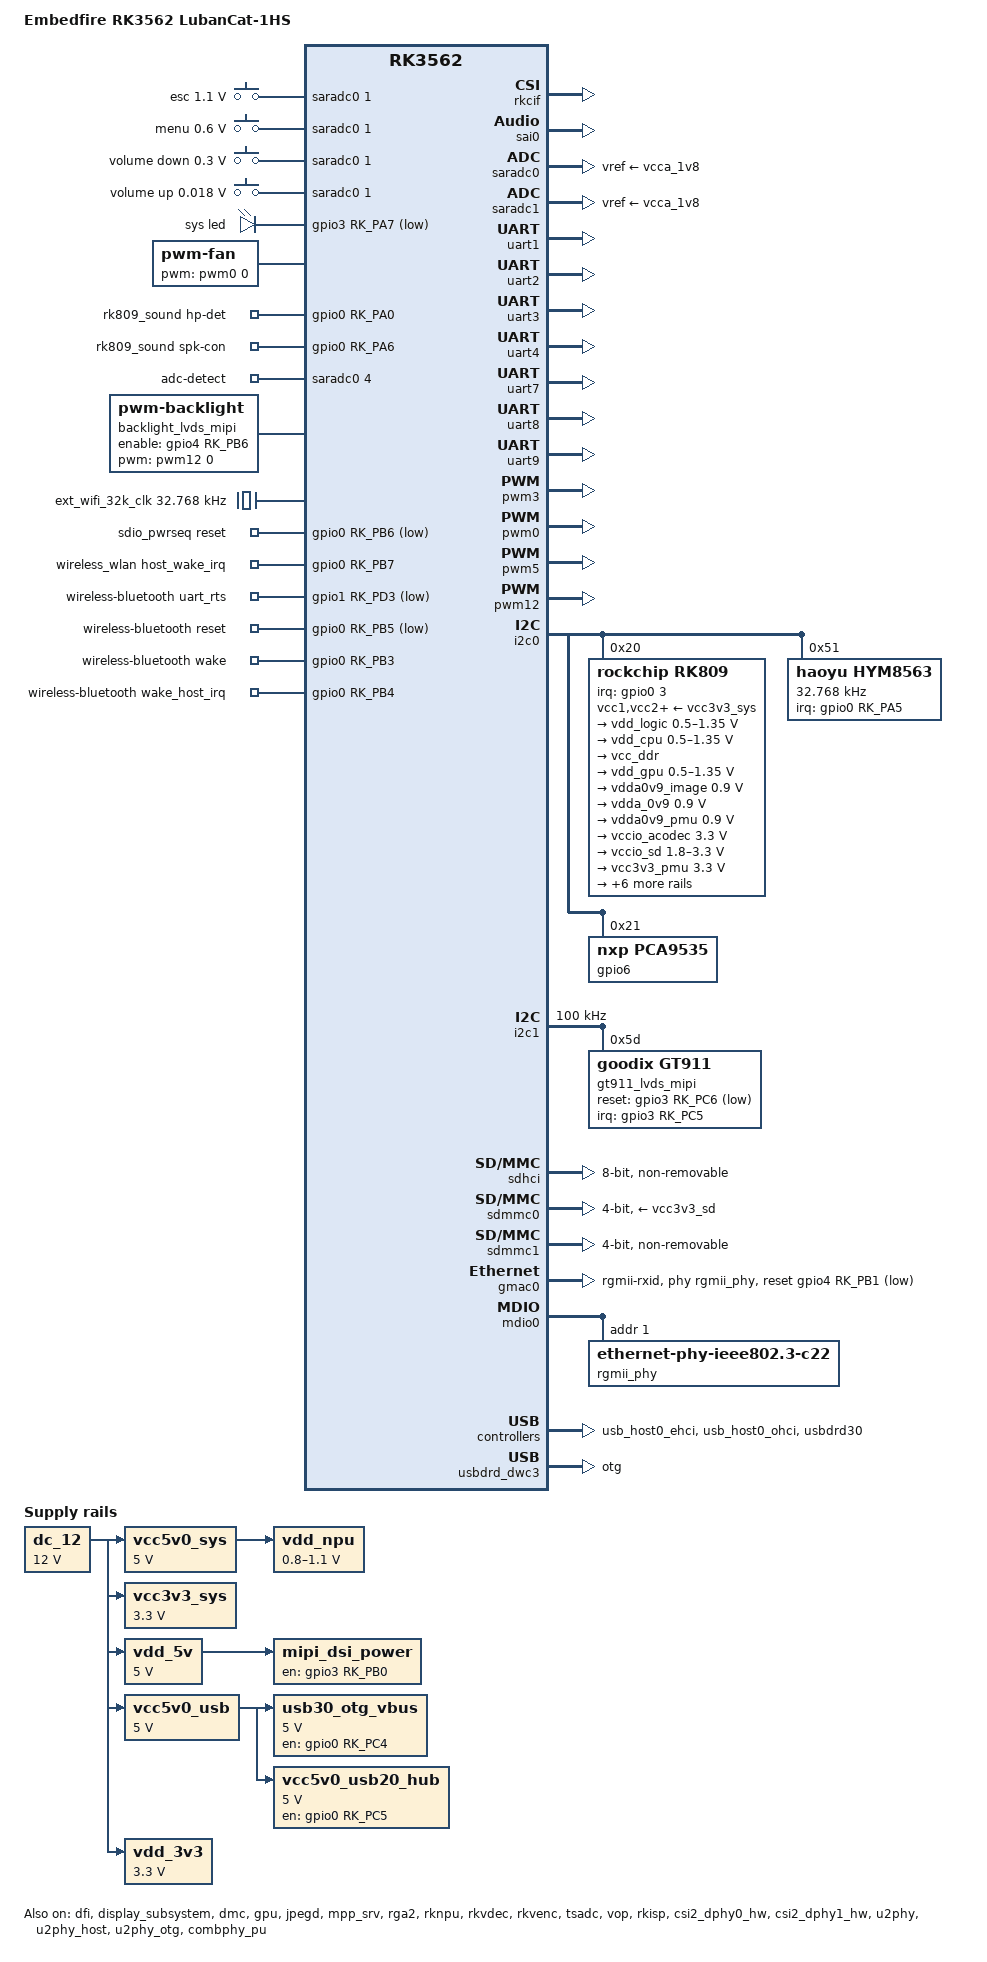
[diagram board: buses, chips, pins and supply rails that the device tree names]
// SPDX-License-Identifier: (GPL-2.0+ OR MIT)
/*
 * Copyright (c) 2024 Rockchip Electronics Co., Ltd.
 *
 */

/dts-v1/;

#include <dt-bindings/display/drm_mipi_dsi.h>
#include <dt-bindings/gpio/gpio.h>
#include <dt-bindings/input/input.h>
#include <dt-bindings/pinctrl/rockchip.h>
#include <dt-bindings/pinctrl/rockchip.h>
#include <dt-bindings/sensor-dev.h>
#include "dt-bindings/usb/pd.h"
#include "rk3562.dtsi"
#include "rk3562-linux.dtsi"

#include "rk3562-lubancat-lvds-10.1-1280x800-bsdn10.dtsi"
//#include "rk3562-lubancat-lvds-10.1-800x1280.dtsi"
//#include "rk3562-lubancat-mipi-5.0-1080x1920.dtsi"

//#include "rk3562-lubancat-1hs-cam0.dtsi"
//#include "rk3562-lubancat-1hs-cam1.dtsi"
//#include "rk3562-lubancat-1hs-cam2.dtsi"
//#include "rk3562-lubancat-1hs-cam3.dtsi"

/ {
	model = "Embedfire RK3562 LubanCat-1HS";
	compatible = "embedfire,rk3562-lubancat-1hs", "rockchip,rk3562";

	aliases {
		gpio6 = &gpio6;
	};

	adc-keys {
		compatible = "adc-keys";
		io-channels = <&saradc0 1>;
		io-channel-names = "buttons";
		poll-interval = <100>;
		keyup-threshold-microvolt = <1800000>;

		esc-key {
			linux,code = <KEY_ESC>;
			label = "esc";
			press-threshold-microvolt = <1100000>;
		};

		menu-key {
			linux,code = <KEY_MENU>;
			label = "menu";
			press-threshold-microvolt = <600000>;
		};

		vol-down-key {
			linux,code = <KEY_VOLUMEDOWN>;
			label = "volume down";
			press-threshold-microvolt = <300000>;
		};

		vol-up-key {
			linux,code = <KEY_VOLUMEUP>;
			label = "volume up";
			press-threshold-microvolt = <18000>;
		};
	};

	dc_12: dc-12v {
		compatible = "regulator-fixed";
		regulator-name = "dc_12v";
		regulator-always-on;
		regulator-boot-on;
		regulator-min-microvolt = <12000000>;
		regulator-max-microvolt = <12000000>;
	};

	vcc5v0_sys: vcc5v0-sys {
		compatible = "regulator-fixed";
		regulator-name = "vcc5v0_sys";
		regulator-always-on;
		regulator-boot-on;
		regulator-min-microvolt = <5000000>;
		regulator-max-microvolt = <5000000>;
		vin-supply = <&dc_12>;
	};

	vcc3v3_sys: vcc3v3-sys {
		compatible = "regulator-fixed";
		regulator-name = "vcc3v3_sys";
		regulator-always-on;
		regulator-boot-on;
		regulator-min-microvolt = <3300000>;
		regulator-max-microvolt = <3300000>;
		vin-supply = <&dc_12>;
	};

	vdd_5v: vdd-5v {
		compatible = "regulator-fixed";
		regulator-name = "vdd_5v";
		regulator-always-on;
		regulator-boot-on;
		regulator-min-microvolt = <5000000>;
		regulator-max-microvolt = <5000000>;
		vin-supply = <&dc_12>;
	};

	vcc5v0_usb: vcc5v0-usb {
		compatible = "regulator-fixed";
		regulator-name = "vcc5v0_usb";
		regulator-always-on;
		regulator-boot-on;
		regulator-min-microvolt = <5000000>;
		regulator-max-microvolt = <5000000>;
		vin-supply = <&dc_12>;
	};

	vdd_5v: vdd-5v {
		compatible = "regulator-fixed";
		regulator-name = "vdd_5v";
		regulator-always-on;
		regulator-boot-on;
		regulator-min-microvolt = <5000000>;
		regulator-max-microvolt = <5000000>;
		vin-supply = <&dc_12>;
	};

	vdd_3v3: vdd-3v3 {
		compatible = "regulator-fixed";
		regulator-name = "vdd_3v3";
		regulator-always-on;
		regulator-boot-on;
		regulator-min-microvolt = <3300000>;
		regulator-max-microvolt = <3300000>;
		vin-supply = <&dc_12>;
	};

	vdd_npu: vdd-npu {
		compatible = "pwm-regulator";
		pwms = <&pwm5 0 5000 1>;
		regulator-name = "vdd_npu";
		regulator-min-microvolt = <800000>;
		regulator-max-microvolt = <1100000>;
		regulator-init-microvolt = <900000>;
		regulator-always-on;
		regulator-boot-on;
		regulator-settling-time-up-us = <250>;
		pwm-supply = <&vcc5v0_sys>;
		status = "okay";
	};

	usb30_otg_vbus: usb30-otg-vbus-regulator {
		compatible = "regulator-fixed";
		enable-active-high;
		regulator-min-microvolt = <5000000>;
		regulator-max-microvolt = <5000000>;
		gpio = <&gpio0 RK_PC4 GPIO_ACTIVE_HIGH>;
		pinctrl-names = "default";
		pinctrl-0 = <&usb30_otg_vbus_en>;
		regulator-name = "usb30_otg_vbus";
		vin-supply = <&vcc5v0_usb>;
	};

	vcc5v0_usb20_hub: vcc5v0-usb20-hub-regulator {
		compatible = "regulator-fixed";
		enable-active-high;
		regulator-min-microvolt = <5000000>;
		regulator-max-microvolt = <5000000>;
		gpio = <&gpio0 RK_PC5 GPIO_ACTIVE_HIGH>;
		pinctrl-names = "default";
		pinctrl-0 = <&vcc5v0_usb20_hub_en>;
		regulator-name = "vcc5v0_usb20_hub";
		vin-supply = <&vcc5v0_usb>;
	};

	mipi_dsi_power: mipi-dsi-power-regulator {
		compatible = "regulator-fixed";
		enable-active-high;
		gpio = <&gpio3 RK_PB0 GPIO_ACTIVE_HIGH>;
		pinctrl-names = "default";
		pinctrl-0 = <&mipi_dsi_pwr_en>;
		regulator-name = "mipi_dsi_power";
		regulator-always-on;
		vin-supply = <&vdd_5v>;
	};

	test-power {
		status = "okay";
	};

	leds: leds {
		status = "okay";
		compatible = "gpio-leds";

		sys_led: sys-led {
			label = "sys led";
			linux,default-trigger = "heartbeat";
			default-state = "on";
			gpios = <&gpio3 RK_PA7 GPIO_ACTIVE_LOW>;
			pinctrl-names = "default";
			pinctrl-0 = <&sys_led_pin>;
		};
	};

	fan: pwm-fan {
		compatible = "pwm-fan";
		#cooling-cells = <2>;
		pwms = <&pwm0 0 5000 0>;
		cooling-levels = <0 100 150 200 255>;
		rockchip,temp-trips = <
			35000   1
			40000   2
			45000   3
			50000   4
		>;
	};

	rk809_sound: rk809-sound {
		status = "okay";
		compatible = "rockchip,multicodecs-card";
		rockchip,card-name = "rockchip-rk809";
		hp-det-gpio = <&gpio0 RK_PA0 GPIO_ACTIVE_HIGH>;
//		hp-con-gpio = <&gpio0 RK_PA6 GPIO_ACTIVE_HIGH>;
		spk-con-gpio = <&gpio0 RK_PA6 GPIO_ACTIVE_HIGH>;
		io-channels = <&saradc0 4>;
		io-channel-names = "adc-detect";
		keyup-threshold-microvolt = <1800000>;
		poll-interval = <100>;
		rockchip,format = "i2s";
		rockchip,mclk-fs = <256>;
		rockchip,cpu = <&sai0>;
		rockchip,codec = <&rk809_codec>;
#if 0
		rockchip,audio-routing =
						"Headphone", "LOUT1",
						"Headphone", "ROUT1",
						"Speaker", "LOUT2",
						"Speaker", "ROUT2",
						"Headphone", "Headphone Power",
						"Headphone", "Headphone Power",
						"Speaker", "Speaker Power",
						"Speaker", "Speaker Power",
						"LINPUT1", "Main Mic",
						"LINPUT2", "Main Mic",
						"RINPUT1", "Headset Mic",
						"RINPUT2", "Headset Mic";
#endif
		pinctrl-names = "default";
		pinctrl-0 = <&hp_det>;

		play-pause-key {
			label = "playpause";
			linux,code = <KEY_PLAYPAUSE>;
			press-threshold-microvolt = <2000>;
		};

		previous-song-key {
			label = "previoussong";
			linux,code = <KEY_PREVIOUSSONG>;
			press-threshold-microvolt = <145000>;
		};

		next-song-key {
			label = "nextsong";
			linux,code = <KEY_NEXTSONG>;
			press-threshold-microvolt = <290000>;
		};
	};

	backlight_lvds_mipi: backlight-lvds-mipi {
		status = "okay";
		compatible = "pwm-backlight";
		pwms = <&pwm12 0 50000 0>;
		enable-gpios = <&gpio4 RK_PB6 GPIO_ACTIVE_HIGH>;
		brightness-levels = <
			 95  95  95  95  95  95  95  95
			 95  95  95  95  95  95  95  95
			 95  95  95  95  95  95  95  95
			 95  95  95  95  95  95  95  95
			 95  95  95  95  95  95  95  95
			 95  95  95  95  95  95  95  95
			 95  95  95  95  95  95  95  95
			 95  95  95  95  95  95  95  95
			 95  95  95  95  95  95  95  95
			 95  95  95  95  95  95  95  95
			 95  95  95  95  95  95  95  95
			 88  89  90  91  92  93  94  95
			 96  97  98  99 100 101 102 103
			104 105 106 107 108 109 110 111
			112 113 114 115 116 117 118 119
			120 121 122 123 124 125 126 127
			128 129 130 131 132 133 134 135
			136 137 138 139 140 141 142 143
			144 145 146 147 148 149 150 151
			152 153 154 155 156 157 158 159
			160 161 162 163 164 165 166 167
			168 169 170 171 172 173 174 175
			176 177 178 179 180 181 182 183
			184 185 186 187 188 189 190 191
			192 193 194 195 196 197 198 199
			200 201 202 203 204 205 206 207
			208 209 210 211 212 213 214 215
			216 217 218 219 220 221 222 223
			224 225 226 227 228 229 230 231
			232 233 234 235 236 237 238 239
			240 241 242 243 244 245 246 247
			248 249 250 251 252 253 254 255
		>;
		default-brightness-level = <200>;
	};

	ext_wifi_32k_clk: external-32k-clock {
		compatible = "fixed-clock";
		#clock-cells = <0>;
		clock-frequency = <32768>;
		clock-output-names = "ext_wifi_32k_clk";
	};

	sdio_pwrseq: sdio-pwrseq {
		compatible = "mmc-pwrseq-simple";
		clocks = <&ext_wifi_32k_clk>;
		clock-names = "ext_clock";
		pinctrl-names = "default";
		pinctrl-0 = <&wifi_wl_reg_on>;

		/*
		 * On the module itself this is one of these (depending
		 * on the actual card populated):
		 * - SDIO_RESET_L_WL_REG_ON
		 * - PDN (power down when low)
		 */
		post-power-on-delay-ms = <200>;
		reset-gpios = <&gpio0 RK_PB6 GPIO_ACTIVE_LOW>;
	};

	wireless_wlan: wireless-wlan {
		compatible = "wlan-platdata";
		rockchip,grf = <&sys_grf>;
		wifi_chip_type = "aic8800";
		pinctrl-names = "default";
		pinctrl-0 = <&wifi_host_wake_irq>;
		WIFI,host_wake_irq = <&gpio0 RK_PB7 GPIO_ACTIVE_HIGH>;
		wakeup-source;
		status = "okay";
	};

	wireless-bluetooth {
		compatible = "bluetooth-platdata";
		clocks = <&ext_wifi_32k_clk>;
		clock-names = "ext_clock";
		//wifi-bt-power-toggle;
		uart_rts_gpios = <&gpio1 RK_PD3 GPIO_ACTIVE_LOW>;
		pinctrl-names = "default", "rts_gpio";
		pinctrl-0 = <&uart1m0_rtsn>;
		pinctrl-1 = <&uart1_gpios>;
		BT,reset_gpio    = <&gpio0 RK_PB5 GPIO_ACTIVE_LOW>;
		BT,wake_gpio     = <&gpio0 RK_PB3 GPIO_ACTIVE_HIGH>;
		BT,wake_host_irq = <&gpio0 RK_PB4 GPIO_ACTIVE_HIGH>;
		status = "okay";
	};
};

&cpu0 {
	cpu-supply = <&vdd_cpu>;
};

&rockchip_suspend {
	status = "okay";
};

&dfi {
	status = "okay";
};

&display_subsystem {
	devfreq = <&dmc>;
	status = "okay";
};

&dmc {
	vop-bw-dmc-freq = <
	/* min_bw(MB/s) max_bw(MB/s) freq(KHz) */
		0   286 324000
		287 99999   528000
	>;
	vop-frame-bw-dmc-freq = <
	/* min_bw(MB/s) max_bw(MB/s) freq(KHz) */
		0   620 324000
		621 99999   780000
	>;
	cpu-bw-dmc-freq = <
	/* min_bw(MB/s) max_bw(MB/s) freq(KHz) */
		0   350 324000
		351 400 528000
		401 99999   780000
	>;

	center-supply = <&vdd_logic>;
	status = "okay";
};

&gpu {
	status = "okay";
	mali-supply = <&vdd_gpu>;
};

&jpegd {
	status = "okay";
};

&jpegd_mmu {
	status = "okay";
};

&mpp_srv {
	status = "okay";
};

&rga2 {
	status = "okay";
};

&rga2_mmu {
	status = "okay";
};

&rknpu {
	rknpu-supply = <&vdd_npu>;
	status = "okay";
};

&rknpu_mmu {
	status = "okay";
};

&rkvdec {
	status = "okay";
};

&rkvdec_mmu {
	status = "okay";
};

&rkvenc {
	status = "okay";
};

&rkvenc_mmu {
	status = "okay";
};

&tsadc {
	status = "okay";
};

&vop {
	status = "okay";
};

&vop_mmu {
	status = "okay";
};

&pmu_mailbox {
	status = "okay";
};

&rkcif {
	status = "okay";
};

&rkcif_mmu {
	status = "okay";
};

&rkisp {
	status = "okay";
};

&rkisp_mmu {
	status = "okay";
};

&csi2_dphy0_hw {
	status = "okay";
};

&csi2_dphy1_hw {
	status = "okay";
};

&sai0 {
	status = "okay";
	pinctrl-names = "default";
	pinctrl-0 = <&i2s0m0_lrck
			 &i2s0m0_sclk
			 &i2s0m0_sdi0
			 &i2s0m0_sdo0>;
};

&saradc0 {
	status = "okay";
	vref-supply = <&vcca_1v8>;
};

&saradc1 {
	status = "okay";
	vref-supply = <&vcca_1v8>;
};

&uart1 {
    status = "okay";
    pinctrl-names = "default";
    pinctrl-0 = <&uart1m0_xfer &uart1m0_ctsn>;
};

&uart2 {
	status = "okay";
	pinctrl-names = "default";
	pinctrl-0 = <&uart2m1_xfer>;
};

&uart3 {
	status = "okay";
	pinctrl-names = "default";
	pinctrl-0 = <&uart3m1_xfer>;
};

&uart4 {
	status = "okay";
	pinctrl-names = "default";
	pinctrl-0 = <&uart4m0_xfer>;
};

&uart7 {
	status = "okay";
	pinctrl-names = "default";
	pinctrl-0 = <&uart7m0_xfer>;
};

&uart8 {
	status = "okay";
	pinctrl-names = "default";
	pinctrl-0 = <&uart8m0_xfer>;
};

&uart9 {
	status = "okay";
	pinctrl-names = "default";
	pinctrl-0 = <&uart9m1_xfer>;
};

&pwm3 {
	compatible = "rockchip,remotectl-pwm";
	pinctrl-names = "default";
	pinctrl-0 = <&pwm3m0_pins>;
	remote_pwm_id = <3>;
	handle_cpu_id = <1>;
	remote_support_psci = <0>;
	status = "okay";

	ir_key_lubancat{
	rockchip,usercode = <0xff00>;
	rockchip,key_table =
		<0xeb   KEY_POWER>,
		<0xec   KEY_MENU>,
		<0xfe   KEY_BACK>,
		<0xb7   KEY_HOME>,
		<0xa3   KEY_WWW>,
		<0xf4   KEY_VOLUMEUP>,
		<0xa7   KEY_VOLUMEDOWN>,
		<0xf8   KEY_REPLY>,
		<0xfc   KEY_UP>,
		<0xfd   KEY_DOWN>,
		<0xf1   KEY_LEFT>,
		<0xe5   KEY_RIGHT>;
	};

	ir_key2 {
		rockchip,usercode = <0xf708>;
		rockchip,key_table =
			<0x28   KEY_POWER>,
			<0xfe   KEY_SETUP>,
			<0xa4   KEY_MUTE>,
			<0x6d   KEY_UP>,
			<0x68   KEY_LEFT>,
			<0x64   KEY_ENTER>,
			<0x60   KEY_RIGHT>,
			<0x27   KEY_DOWN>,
			<0x3c   KEY_MENU>,
			<0x7d   KEY_HOME>,
			<0x2b   KEY_BACK>,
			<0x7c   KEY_VOLUMEDOWN>,
			<0x79   KEY_VOLUMEUP>,
			<0x57   KEY_AUDIO>,
			<0x5d   KEY_SUBTITLE>,
			<0x99   KEY_PHONE>,
			<0xfd   KEY_WWW>,
			<0xfc   KEY_F1>,
			<0x7e   KEY_TV>;
	};

	ir_key3 {
		rockchip,usercode = <0x1dcc>;
		rockchip,key_table =
			<0xee   KEY_REPLY>,
			<0xf0   KEY_BACK>,
			<0xf8   KEY_UP>,
			<0xbb   KEY_DOWN>,
			<0xef   KEY_LEFT>,
			<0xed   KEY_RIGHT>,
			<0xfc   KEY_HOME>,
			<0xf1   KEY_VOLUMEUP>,
			<0xfd   KEY_VOLUMEDOWN>,
			<0xb7   KEY_SEARCH>,
			<0xff   KEY_POWER>,
			<0xf3   KEY_MUTE>,
			<0xbf   KEY_MENU>,
			<0xf9   0x191>,
			<0xf5   0x192>,
			<0xb3   388>,
			<0xbe   KEY_1>,
			<0xba   KEY_2>,
			<0xb2   KEY_3>,
			<0xbd   KEY_4>,
			<0xf9   KEY_5>,
			<0xb1   KEY_6>,
			<0xfc   KEY_7>,
			<0xf8   KEY_8>,
			<0xb0   KEY_9>,
			<0xb6   KEY_0>,
			<0xb5   KEY_BACKSPACE>;
	};
};

&pwm0 {
	status = "okay";
	pinctrl-0 = <&pwm0m0_pins>;
};

&pwm5 {
	status = "okay";
	pinctrl-0 = <&pwm5m0_pins>;
};

&pwm12 {
	status = "okay";
	pinctrl-0 = <&pwm12m1_pins>;
};

&i2c0 {
	status = "okay";

	rk809: pmic@20 {
		compatible = "rockchip,rk809";
		reg = <0x20>;
		interrupt-parent = <&gpio0>;
		interrupts = <3 IRQ_TYPE_LEVEL_LOW>;

		pinctrl-names = "default", "pmic-sleep",
			"pmic-power-off", "pmic-reset";
		pinctrl-0 = <&pmic_int>;
		pinctrl-1 = <&soc_slppin_slp>, <&rk817_slppin_slp>;
		pinctrl-2 = <&soc_slppin_gpio>, <&rk817_slppin_pwrdn>;
		pinctrl-3 = <&soc_slppin_gpio>, <&rk817_slppin_rst>;
		rockchip,system-power-controller;
		wakeup-source;
		#clock-cells = <1>;
		clock-output-names = "rk808-clkout1", "rk808-clkout2";
		/* 1: rst regs (default in codes), 0: rst the pmic */
		pmic-reset-func = <0>;
		/* not save the PMIC_POWER_EN register in uboot */
		not-save-power-en = <1>;

		vcc1-supply = <&vcc3v3_sys>;
		vcc2-supply = <&vcc3v3_sys>;
		vcc3-supply = <&vcc3v3_sys>;
		vcc4-supply = <&vcc3v3_sys>;
		vcc5-supply = <&vcc3v3_sys>;
		vcc6-supply = <&vcc3v3_sys>;
		vcc7-supply = <&vcc3v3_sys>;
		vcc8-supply = <&vcc3v3_sys>;
		vcc9-supply = <&vcc3v3_sys>;

		pwrkey {
			status = "okay";
		};

		pinctrl_rk8xx: pinctrl_rk8xx {
			gpio-controller;
			#gpio-cells = <2>;

			rk817_slppin_null: rk817_slppin_null {
				pins = "gpio_slp";
				function = "pin_fun0";
			};

			rk817_slppin_slp: rk817_slppin_slp {
				pins = "gpio_slp";
				function = "pin_fun1";
			};

			rk817_slppin_pwrdn: rk817_slppin_pwrdn {
				pins = "gpio_slp";
				function = "pin_fun2";
			};

			rk817_slppin_rst: rk817_slppin_rst {
				pins = "gpio_slp";
				function = "pin_fun3";
			};
		};

		regulators {
			vdd_logic: DCDC_REG1 {
				regulator-always-on;
				regulator-boot-on;
				regulator-min-microvolt = <500000>;
				regulator-max-microvolt = <1350000>;
				regulator-init-microvolt = <950000>;
				regulator-ramp-delay = <6001>;
				regulator-initial-mode = <0x2>;
				regulator-name = "vdd_logic";
				regulator-state-mem {
					regulator-off-in-suspend;
				};
			};

			vdd_cpu: DCDC_REG2 {
				regulator-always-on;
				regulator-boot-on;
				regulator-min-microvolt = <500000>;
				regulator-max-microvolt = <1350000>;
				regulator-init-microvolt = <1050000>;
				regulator-ramp-delay = <6001>;
				regulator-initial-mode = <0x2>;
				regulator-name = "vdd_cpu";
				regulator-state-mem {
					regulator-off-in-suspend;
				};
			};

			vcc_ddr: DCDC_REG3 {
				regulator-always-on;
				regulator-boot-on;
				regulator-initial-mode = <0x2>;
				regulator-name = "vcc_ddr";
				regulator-state-mem {
					regulator-on-in-suspend;
				};
			};

			vdd_gpu: DCDC_REG4 {
				regulator-always-on;
				regulator-boot-on;
				regulator-min-microvolt = <500000>;
				regulator-max-microvolt = <1350000>;
				regulator-init-microvolt = <900000>;
				regulator-ramp-delay = <6001>;
				regulator-initial-mode = <0x2>;
				regulator-name = "vdd_gpu";
				regulator-state-mem {
					regulator-off-in-suspend;
				};
			};

			vdda0v9_image: LDO_REG1 {
				regulator-always-on;
				regulator-boot-on;
				regulator-min-microvolt = <900000>;
				regulator-max-microvolt = <900000>;
				regulator-name = "vdda0v9_image";
				regulator-state-mem {
					regulator-off-in-suspend;
				};
			};

			vdda_0v9: LDO_REG2 {
				regulator-always-on;
				regulator-boot-on;
				regulator-min-microvolt = <900000>;
				regulator-max-microvolt = <900000>;
				regulator-name = "vdda_0v9";
				regulator-state-mem {
					regulator-off-in-suspend;
				};
			};

			vdda0v9_pmu: LDO_REG3 {
				regulator-always-on;
				regulator-boot-on;
				regulator-min-microvolt = <900000>;
				regulator-max-microvolt = <900000>;
				regulator-name = "vdda0v9_pmu";
				regulator-state-mem {
					regulator-on-in-suspend;
					regulator-suspend-microvolt = <900000>;
				};
			};

			vccio_acodec: LDO_REG4 {
				regulator-always-on;
				regulator-boot-on;
				regulator-min-microvolt = <3300000>;
				regulator-max-microvolt = <3300000>;
				regulator-name = "vccio_acodec";
				regulator-state-mem {
					regulator-off-in-suspend;
				};
			};

			vccio_sd: LDO_REG5 {
				regulator-always-on;
				regulator-boot-on;
				regulator-min-microvolt = <1800000>;
				regulator-max-microvolt = <3300000>;
				regulator-name = "vccio_sd";
				regulator-state-mem {
					regulator-off-in-suspend;
				};
			};

			vcc3v3_pmu: LDO_REG6 {
				regulator-always-on;
				regulator-boot-on;
				regulator-min-microvolt = <3300000>;
				regulator-max-microvolt = <3300000>;
				regulator-name = "vcc3v3_pmu";
				regulator-state-mem {
					regulator-on-in-suspend;
					regulator-suspend-microvolt = <3300000>;
				};
			};

			vcca_1v8: LDO_REG7 {
				regulator-always-on;
				regulator-boot-on;
				regulator-min-microvolt = <1800000>;
				regulator-max-microvolt = <1800000>;
				regulator-name = "vcca_1v8";
				regulator-state-mem {
					regulator-off-in-suspend;
				};
			};

			vcca1v8_pmu: LDO_REG8 {
				regulator-always-on;
				regulator-boot-on;
				regulator-min-microvolt = <1800000>;
				regulator-max-microvolt = <1800000>;
				regulator-name = "vcca1v8_pmu";
				regulator-state-mem {
					regulator-on-in-suspend;
					regulator-suspend-microvolt = <1800000>;
				};
			};

			vcca1v8_image: LDO_REG9 {
				regulator-always-on;
				regulator-boot-on;
				regulator-min-microvolt = <1800000>;
				regulator-max-microvolt = <1800000>;
				regulator-name = "vcca1v8_image";
				regulator-state-mem {
					regulator-off-in-suspend;
				};
			};

			vcc_1v8: DCDC_REG5 {
				regulator-always-on;
				regulator-boot-on;
				regulator-min-microvolt = <1800000>;
				regulator-max-microvolt = <1800000>;
				regulator-name = "vcc_1v8";
				regulator-state-mem {
					regulator-off-in-suspend;
				};
			};

			vcc_3v3: SWITCH_REG1 {
				regulator-always-on;
				regulator-boot-on;
				regulator-name = "vcc_3v3";
				regulator-state-mem {
					regulator-off-in-suspend;
				};
			};

			vcc3v3_sd: SWITCH_REG2 {
				regulator-always-on;
				regulator-boot-on;
				regulator-name = "vcc3v3_sd";
				regulator-state-mem {
					regulator-off-in-suspend;
				};
			};
		};

		rk809_rtc: rtc {
			status = "disabled";
		};

		rk809_codec: codec {
			#sound-dai-cells = <1>;
			compatible = "rockchip,rk809-codec", "rockchip,rk817-codec";
			clocks = <&mclkout_sai0>;
			clock-names = "mclk";
			assigned-clocks = <&mclkout_sai0>;
			assigned-clock-rates = <12288000>;
			pinctrl-names = "default";
			pinctrl-0 = <&i2s0m0_mclk>;
			hp-volume = <20>;
			spk-volume = <3>;
			//mic-in-differential;
			status = "okay";
		};
	};

	hym8563: hym8563@51 {
		compatible = "haoyu,hym8563";
		reg = <0x51>;
		#clock-cells = <0>;
		clock-frequency = <32768>;
		clock-output-names = "hym8563";
		pinctrl-names = "default";
		pinctrl-0 = <&hym8563_int>;
		interrupt-parent = <&gpio0>;
		interrupts = <RK_PA5 IRQ_TYPE_LEVEL_LOW>;
		wakeup-source;
	};

	gpio6: gpio-expander@21 {
		compatible = "nxp,pca9535";
		status = "okay";
		reg = <0x21>;
		gpio-controller;
		#gpio-cells = <2>;
	};
};

&i2c1 {
	status = "okay";
	pinctrl-names = "default";
	pinctrl-0 = <&i2c1m1_xfer>;
	clock-frequency = <100000>;

	gt911_lvds_mipi: gt911@5d {
		status = "okay";
		compatible = "goodix,gt911";
		reg = <0x5d>;
		interrupt-parent = <&gpio3>;
		interrupts = <RK_PC5 IRQ_TYPE_LEVEL_LOW>;
		reset-gpios = <&gpio3 RK_PC6 GPIO_ACTIVE_LOW>;
		irq-gpios = <&gpio3 RK_PC5 GPIO_ACTIVE_HIGH>;
		touchscreen-inverted-x = <1>;
		touchscreen-inverted-y = <1>;
	};
};

&sdhci {
	bus-width = <8>;
	no-sdio;
	no-sd;
	non-removable;
	max-frequency = <200000000>;
	mmc-hs400-1_8v;
	mmc-hs400-enhanced-strobe;
	full-pwr-cycle-in-suspend;
	pinctrl-names = "default";
	pinctrl-0 = <&emmc_bus8 &emmc_clk &emmc_cmd &emmc_strb>;
	status = "okay";
};

&sdmmc0 {
	no-sdio;
	no-mmc;
	bus-width = <4>;
	cap-mmc-highspeed;
	cap-sd-highspeed;
	disable-wp;
	sd-uhs-sdr104;
	vmmc-supply = <&vcc3v3_sd>;
	vqmmc-supply = <&vccio_sd>;
	pinctrl-names = "default";
	pinctrl-0 = <&sdmmc0_bus4 &sdmmc0_clk &sdmmc0_cmd &sdmmc0_det>;
	status = "okay";
};

&sdmmc1 {
	max-frequency = <100000000>;
	no-sd;
	no-mmc;
	bus-width = <4>;
	disable-wp;
	cap-sd-highspeed;
	cap-sdio-irq;
	keep-power-in-suspend;
	mmc-pwrseq = <&sdio_pwrseq>;
	non-removable;
	pinctrl-names = "default";
	pinctrl-0 = <&sdmmc1_bus4 &sdmmc1_cmd &sdmmc1_clk>;
	sd-uhs-sdr104;
	status = "okay";
};

&gmac0 {
	/* Use rgmii-rxid mode to disable rx delay inside Soc */
	phy-mode = "rgmii-rxid";
	clock_in_out = "output";

	snps,reset-gpio = <&gpio4 RK_PB1 GPIO_ACTIVE_LOW>;
	snps,reset-active-low;
	/* Reset time is 20ms, 100ms for rtl8211f */
	snps,reset-delays-us = <0 20000 100000>;

	tx_delay = <0x1e>;
	/* rx_delay = <0x3f>; */

	pinctrl-names = "default";
	pinctrl-0 = <&rgmiim0_miim
			 &rgmiim0_tx_bus2
			 &rgmiim0_rx_bus2
			 &rgmiim0_rgmii_clk
			 &rgmiim0_rgmii_bus
			 &rgmiim0_clk>;

	phy-handle = <&rgmii_phy>;
	status = "okay";
};

&mdio0 {
	rgmii_phy: phy@1 {
		compatible = "ethernet-phy-ieee802.3-c22";
		reg = <0x1>;
	};
};

/* USB OTG/USB Host_1 USB 2.0 Comb PHY */
&u2phy {
	status = "okay";
};

/* USB20 HOST1 */
&u2phy_host {
	status = "okay";
	phy-supply = <&vcc5v0_usb20_hub>;
};

/* USB20 OTG */
&u2phy_otg {
	status = "okay";
	vbus-supply = <&usb30_otg_vbus>;
};

&usb_host0_ehci {
	status = "okay";
};

&usb_host0_ohci {
	status = "okay";
};

/* USB 3.0 OTG/pcie2x1 Combo PHY */
&combphy_pu {
	status = "okay";
};

/* USB 3.0 OTG controller */
&usbdrd30 {
	status = "okay";
};

&usbdrd_dwc3 {
	status = "okay";
	dr_mode = "otg";
	extcon = <&u2phy>;
};

&pinctrl {
	leds {
		sys_led_pin: sys-led-pin {
			rockchip,pins = <3 RK_PA7 RK_FUNC_GPIO &pcfg_pull_none>;
		};
	};

	lcd {
		mipi_dsi_pwr_en: mipi-dsi-pwr-en {
			rockchip,pins = <3 RK_PB0 RK_FUNC_GPIO &pcfg_pull_none>;
		};

		lcd_rst_gpio: lcd-rst-gpio {
			rockchip,pins = <3 RK_PB5 RK_FUNC_GPIO &pcfg_pull_up>;
		};
	};

	sound {
		hp_det: hp-det {
			rockchip,pins = <0 RK_PA0 RK_FUNC_GPIO &pcfg_pull_none>;
		};
	};

	usb {
		usb30_otg_vbus_en: usb30-otg-vbus-en {
			rockchip,pins = <0 RK_PC4 RK_FUNC_GPIO &pcfg_pull_none>;
		};

		vcc5v0_usb20_hub_en: vcc5v0-usb20-hub-en {
			rockchip,pins = <0 RK_PC5 RK_FUNC_GPIO &pcfg_pull_none>;
		};
	};

	rtc {
		hym8563_int: hym8563-int {
			rockchip,pins = <0 RK_PA5 RK_FUNC_GPIO &pcfg_pull_up>;
		};
	};

	sdio-pwrseq {
		wifi_wl_reg_on: wifi-wl-reg-on {
			rockchip,pins = <0 RK_PB6 RK_FUNC_GPIO &pcfg_pull_none>;
		};
	};

	wireless-wlan {
		wifi_host_wake_irq: wifi-host-wake-irq {
			rockchip,pins = <0 RK_PB7 RK_FUNC_GPIO &pcfg_pull_down>;
		};
	};

	wireless-bluetooth {
		uart1_gpios: uart1-gpios {
			rockchip,pins = <1 RK_PD3 RK_FUNC_GPIO &pcfg_pull_none>;
		};
	};
};
